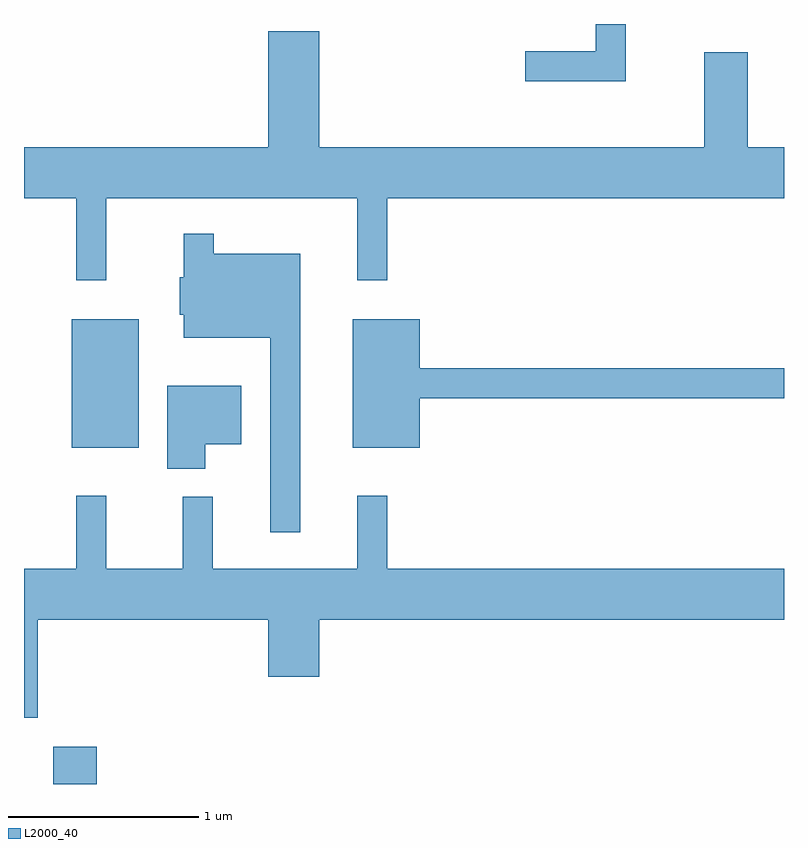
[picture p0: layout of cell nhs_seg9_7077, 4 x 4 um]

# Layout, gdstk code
import gdstk
lib = gdstk.Library(unit=1e-6, precision=1e-09)
def R(c, l, rs):  # rectangles x0, y0, x1, y1
    for r in rs: c.add(gdstk.rectangle(r[:2], r[2:], *l))
def P(c, l, *ps):  # polygons
    for p in ps: c.add(gdstk.Polygon(p, *l))
L2000_40 = (2000, 40)

nhs_seg9_7077 = lib.new_cell('nhs_seg9_7077')
R(nhs_seg9_7077, L2000_40, [(393.766,2066.432,393.994,2066.629), (393.861,2068.201,394.214,2068.879)])
P(nhs_seg9_7077, L2000_40, [(396.779,2070.432),(396.621,2070.432),(396.621,2070.289),(396.248,2070.289),(396.248,2070.131),(396.779,2070.131)],
  [(394.044,2069.516),(395.366,2069.516),(395.366,2069.083),(395.524,2069.083),(395.524,2069.516),(397.611,2069.516),(397.611,2069.784),(397.419,2069.784),(397.419,2070.284),(397.191,2070.284),(397.191,2069.784),(395.164,2069.784),(395.164,2070.394),(394.896,2070.394),(394.896,2069.784),(393.611,2069.784),(393.611,2069.516),(393.886,2069.516),(393.886,2069.083),(394.044,2069.083)],
  [(395.064,2069.224),(394.609,2069.224),(394.609,2069.327),(394.451,2069.327),(394.451,2069.099),(394.431,2069.099),(394.431,2068.901),(394.451,2068.901),(394.451,2068.781),(394.906,2068.781),(394.906,2067.758),(395.064,2067.758)],
  [(395.694,2068.461),(397.611,2068.461),(397.611,2068.619),(395.694,2068.619),(395.694,2068.879),(395.341,2068.879),(395.341,2068.201),(395.694,2068.201)],
  [(394.564,2068.221),(394.754,2068.221),(394.754,2068.529),(394.366,2068.529),(394.366,2068.091),(394.564,2068.091)],
  [(393.684,2067.296),(394.896,2067.296),(394.896,2066.996),(395.164,2066.996),(395.164,2067.296),(397.611,2067.296),(397.611,2067.564),(395.524,2067.564),(395.524,2067.948),(395.366,2067.948),(395.366,2067.564),(394.604,2067.564),(394.604,2067.943),(394.446,2067.943),(394.446,2067.564),(394.044,2067.564),(394.044,2067.948),(393.886,2067.948),(393.886,2067.564),(393.611,2067.564),(393.611,2066.781),(393.684,2066.781)])

lib.write_gds('nhs_seg9_7077.gds')
